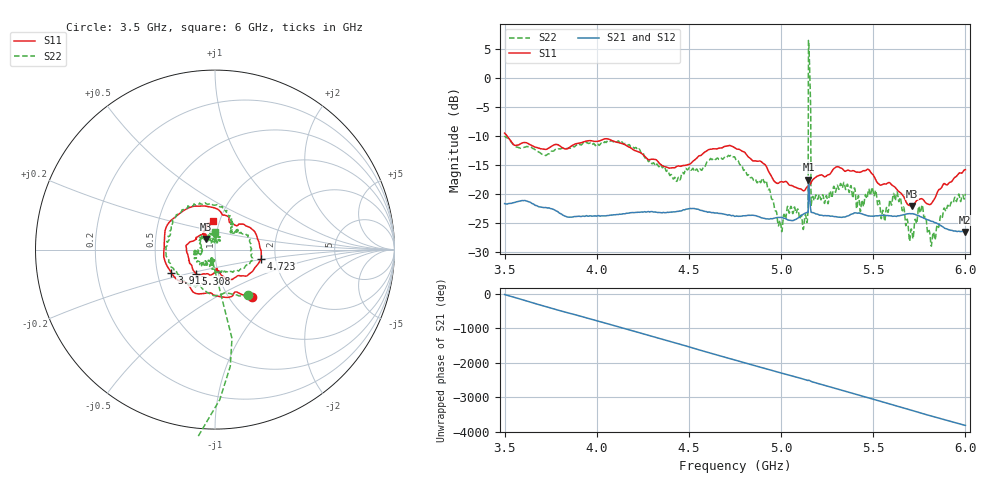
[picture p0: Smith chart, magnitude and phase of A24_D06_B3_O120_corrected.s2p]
! Created with skrf 1.9.0 (http://scikit-rf.org).
# Hz S RI R 50.0
!freq ReS11 ImS11 ReS21 ImS21 ReS12 ImS12 ReS22 ImS22
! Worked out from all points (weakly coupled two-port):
!   1601 points, 3.5 GHz to 6 GHz, reference 50 ohm
!   highest |S21| = -17.52 dB at 5.148 GHz (marker M1); lowest = -26.5 dB at 5.998 GHz (marker M2)
!   lowest |S11| = -22.1 dB at 5.711 GHz (marker M3), VSWR 1.17, Z = 44.7 + j5.32 ohm
!   |S11| at or under -10 dB: 3.514 GHz to end of sweep
!   |S22| runs from -29.0 to 6.5 dB; largest |S21 - S12| = 0.001
!   S11 on the Smith chart (normalised r, x): 3.5 GHz: 1.27, -0.75; 3.913 GHz: 0.59, -0.16; 4.723 GHz: 1.68, -0.18; 5.308 GHz: 0.78, -0.22; 6 GHz: 0.93, +0.31
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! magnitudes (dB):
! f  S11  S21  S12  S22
! 3.5 GHz  -9.5  -21.7  -21.6  -10.0
! 3.913 GHz  -11.2  -23.9  -23.8  -11.5
! 3.917 GHz  -11.2  -23.9  -23.8  -11.5
! 4.334 GHz  -14.5  -23.2  -23.1  -15.2
! 4.723 GHz  -11.6  -23.7  -23.6  -13.4
! 4.75 GHz  -12.1  -23.9  -23.8  -13.7
! 4.911 GHz  -14.9  -24.2  -24.2  -18.0
! 4.995 GHz  -17.9  -24.0  -24.0  -24.6
! 5.128 GHz  -19.4  -23.4  -23.4  -24.1
! 5.134 GHz  -19.1  -23.3  -23.2  -23.8
! 5.148 GHz  -18.6  -17.5  -17.5  6.5
! 5.161 GHz  -18.2  -22.7  -22.6  -5.9
! 5.167 GHz  -17.8  -23.2  -23.1  -21.0
! 5.175 GHz  -17.5  -23.2  -23.2  -20.7
! 5.308 GHz  -15.3  -24.0  -23.9  -18.7
! 5.584 GHz  -18.0  -23.8  -23.7  -22.4
! 5.638 GHz  -19.5  -23.8  -23.7  -21.2
! 5.711 GHz  -22.1  -23.4  -23.3  -26.8
! 5.758 GHz  -20.9  -23.9  -23.9  -23.0
! 5.823 GHz  -21.3  -24.7  -24.7  -26.9
! 5.998 GHz  -15.8  -26.5  -26.4  -20.2
! 6 GHz  -15.8  -26.5  -26.5  -20.0
